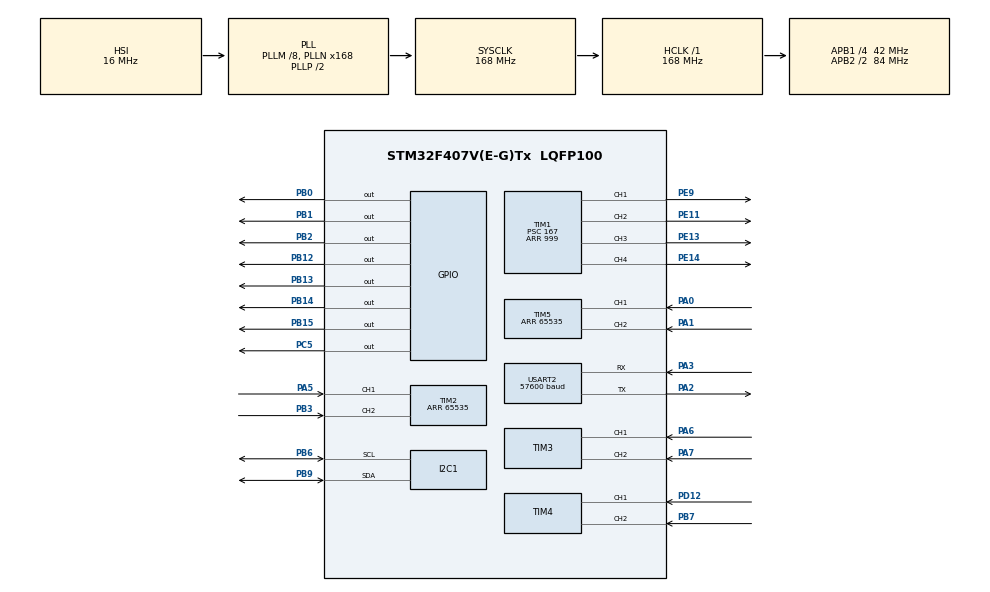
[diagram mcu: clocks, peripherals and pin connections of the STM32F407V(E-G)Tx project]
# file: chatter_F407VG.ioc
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Dma.Request0=USART2_RX
Dma.Request1=USART2_TX
Dma.USART2_RX.0.Direction=DMA_PERIPH_TO_MEMORY
Dma.USART2_RX.0.FIFOMode=DMA_FIFOMODE_DISABLE
Dma.USART2_RX.0.Instance=DMA1_Stream5
Dma.USART2_RX.0.MemDataAlignment=DMA_MDATAALIGN_BYTE
Dma.USART2_RX.0.MemInc=DMA_MINC_ENABLE
Dma.USART2_RX.0.Mode=DMA_CIRCULAR
Dma.USART2_RX.0.PeriphDataAlignment=DMA_PDATAALIGN_BYTE
Dma.USART2_RX.0.PeriphInc=DMA_PINC_DISABLE
Dma.USART2_RX.0.Priority=DMA_PRIORITY_LOW
Dma.USART2_TX.1.Direction=DMA_MEMORY_TO_PERIPH
Dma.USART2_TX.1.FIFOMode=DMA_FIFOMODE_DISABLE
Dma.USART2_TX.1.Instance=DMA1_Stream6
Dma.USART2_TX.1.MemDataAlignment=DMA_MDATAALIGN_BYTE
Dma.USART2_TX.1.MemInc=DMA_MINC_ENABLE
Dma.USART2_TX.1.Mode=DMA_NORMAL
Dma.USART2_TX.1.PeriphDataAlignment=DMA_PDATAALIGN_BYTE
Dma.USART2_TX.1.PeriphInc=DMA_PINC_DISABLE
Dma.USART2_TX.1.Priority=DMA_PRIORITY_LOW
Mcu.Family=STM32F4
Mcu.Name=STM32F407V(E-G)Tx
Mcu.Package=LQFP100
NVIC.DMA1_Stream5_IRQn=true\:0\:0\:false\:false\:true\:false\:true\:true
NVIC.DMA1_Stream6_IRQn=true\:0\:0\:false\:false\:true\:false\:true\:true
NVIC.I2C1_ER_IRQn=true\:0\:0\:false\:false\:true\:true\:true\:true
NVIC.I2C1_EV_IRQn=true\:0\:0\:false\:false\:true\:true\:true\:true
NVIC.PriorityGroup=NVIC_PRIORITYGROUP_4
NVIC.TIM1_BRK_TIM9_IRQn=true\:0\:0\:false\:false\:true\:true\:true\:true
NVIC.TIM6_DAC_IRQn=true\:0\:0\:false\:false\:true\:true\:true\:true
NVIC.TIM7_IRQn=true\:0\:0\:false\:false\:true\:true\:true\:true
NVIC.USART2_IRQn=true\:0\:0\:false\:false\:true\:true\:true\:true
PA0-WKUP.GPIO_PuPd=GPIO_PULLUP
PA0-WKUP.Signal=S_TIM5_CH1
PA1.GPIO_PuPd=GPIO_PULLUP
PA1.Signal=S_TIM5_CH2
PA13.Mode=Serial_Wire
PA13.Signal=SYS_JTMS-SWDIO
PA14.Mode=Serial_Wire
PA14.Signal=SYS_JTCK-SWCLK
PA2.Mode=Asynchronous
PA2.Signal=USART2_TX
PA3.Mode=Asynchronous
PA3.Signal=USART2_RX
PA5.GPIO_PuPd=GPIO_PULLUP
PA5.Signal=S_TIM2_CH1_ETR
PA6.GPIO_PuPd=GPIO_PULLUP
PA6.Signal=S_TIM3_CH1
PA7.GPIO_PuPd=GPIO_PULLUP
PA7.Signal=S_TIM3_CH2
PB0.Signal=GPIO_Output
PB1.Signal=GPIO_Output
PB12.Signal=GPIO_Output
PB13.Signal=GPIO_Output
PB14.Signal=GPIO_Output
PB15.Signal=GPIO_Output
PB2.Signal=GPIO_Output
PB3.GPIO_PuPd=GPIO_PULLUP
PB3.Signal=S_TIM2_CH2
PB6.Mode=I2C
PB6.Signal=I2C1_SCL
PB7.GPIO_PuPd=GPIO_PULLUP
PB7.Signal=S_TIM4_CH2
PB9.Mode=I2C
PB9.Signal=I2C1_SDA
PC5.Signal=GPIO_Output
PD12.GPIO_PuPd=GPIO_PULLUP
PD12.Signal=S_TIM4_CH1
PE11.Signal=S_TIM1_CH2
PE13.Signal=S_TIM1_CH3
PE14.Signal=S_TIM1_CH4
PE9.Signal=S_TIM1_CH1
PH0-OSC_IN.Mode=HSE-External-Oscillator
PH0-OSC_IN.Signal=RCC_OSC_IN
PH1-OSC_OUT.Mode=HSE-External-Oscillator
PH1-OSC_OUT.Signal=RCC_OSC_OUT
ProjectManager.HeapSize=0x200
ProjectManager.StackSize=0x400
ProjectManager.TargetToolchain=STM32CubeIDE
RCC.48MHZClocksFreq_Value=84000000
RCC.AHBFreq_Value=168000000
RCC.APB1CLKDivider=RCC_HCLK_DIV4
RCC.APB1Freq_Value=42000000
RCC.APB1TimFreq_Value=84000000
RCC.APB2CLKDivider=RCC_HCLK_DIV2
RCC.APB2Freq_Value=84000000
RCC.APB2TimFreq_Value=168000000
RCC.CortexFreq_Value=168000000
RCC.HCLKFreq_Value=168000000
RCC.HSE_VALUE=25000000
RCC.HSI_VALUE=16000000
RCC.LSE_VALUE=32768
RCC.PLLM=8
RCC.PLLN=168
RCC.SYSCLKFreq_VALUE=168000000
RCC.SYSCLKSource=RCC_SYSCLKSOURCE_PLLCLK
RCC.VCOOutputFreq_Value=336000000
SH.S_TIM1_CH1.0=TIM1_CH1,PWM Generation1 CH1
SH.S_TIM1_CH2.0=TIM1_CH2,PWM Generation2 CH2
SH.S_TIM1_CH3.0=TIM1_CH3,PWM Generation3 CH3
SH.S_TIM1_CH4.0=TIM1_CH4,PWM Generation4 CH4
SH.S_TIM2_CH1_ETR.0=TIM2_CH1,Encoder_Interface
SH.S_TIM2_CH2.0=TIM2_CH2,Encoder_Interface
SH.S_TIM3_CH1.0=TIM3_CH1,Encoder_Interface
SH.S_TIM3_CH2.0=TIM3_CH2,Encoder_Interface
SH.S_TIM4_CH1.0=TIM4_CH1,Encoder_Interface
SH.S_TIM4_CH2.0=TIM4_CH2,Encoder_Interface
SH.S_TIM5_CH1.0=TIM5_CH1,Encoder_Interface
SH.S_TIM5_CH2.0=TIM5_CH2,Encoder_Interface
TIM1.AutoReloadPreload=TIM_AUTORELOAD_PRELOAD_ENABLE
TIM1.Channel-PWM\ Generation1\ CH1=TIM_CHANNEL_1
TIM1.Channel-PWM\ Generation2\ CH2=TIM_CHANNEL_2
TIM1.Channel-PWM\ Generation3\ CH3=TIM_CHANNEL_3
TIM1.Channel-PWM\ Generation4\ CH4=TIM_CHANNEL_4
TIM1.Period=999
TIM1.Prescaler=167
TIM1.Pulse-PWM\ Generation1\ CH1=0
TIM1.Pulse-PWM\ Generation2\ CH2=0
TIM1.Pulse-PWM\ Generation3\ CH3=0
TIM1.Pulse-PWM\ Generation4\ CH4=0
TIM2.EncoderMode=TIM_ENCODERMODE_TI12
TIM2.Period=65535
TIM3.EncoderMode=TIM_ENCODERMODE_TI12
TIM4.EncoderMode=TIM_ENCODERMODE_TI12
TIM5.EncoderMode=TIM_ENCODERMODE_TI12
TIM5.Period=65535
TIM6.Period=9999
TIM6.Prescaler=1679
TIM7.Period=99
TIM7.Prescaler=3359
TIM9.Period=9999
TIM9.Prescaler=3359
USART2.BaudRate=57600
USART2.VirtualMode=VM_ASYNC
VP_TIM1_VS_ClockSourceINT.Mode=Internal
VP_TIM6_VS_ClockSourceINT.Mode=Enable_Timer
VP_TIM7_VS_ClockSourceINT.Mode=Enable_Timer
VP_TIM9_VS_ClockSourceINT.Mode=Internal
board=custom

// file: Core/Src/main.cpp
/* USER CODE BEGIN Header */
/**
  ******************************************************************************
  * @file           : main.c
  * @brief          : Main program body
  ******************************************************************************
  * @attention
  *
  * Copyright (c) 2024 STMicroelectronics.
  * All rights reserved.
  *
  * This software is licensed under terms that can be found in the LICENSE file
  * in the root directory of this software component.
  * If no LICENSE file comes with this software, it is provided AS-IS.
  *
  ******************************************************************************
  */
/* USER CODE END Header */
#include "main.h"

/* USER CODE BEGIN Includes */
#include "mainpp.h"
#include <math.h>
/* USER CODE END Includes */

/* USER CODE BEGIN PD */
#define pi 3.1415926535898
/* USER CODE END PD */

I2C_HandleTypeDef hi2c1;

TIM_HandleTypeDef htim1;
TIM_HandleTypeDef htim2;
TIM_HandleTypeDef htim3;
TIM_HandleTypeDef htim4;
TIM_HandleTypeDef htim5;
TIM_HandleTypeDef htim6;
TIM_HandleTypeDef htim7;
TIM_HandleTypeDef htim9;

UART_HandleTypeDef huart2;
DMA_HandleTypeDef hdma_usart2_rx;
DMA_HandleTypeDef hdma_usart2_tx;

void SystemClock_Config(void);
static void MX_GPIO_Init(void);
static void MX_DMA_Init(void);
static void MX_USART2_UART_Init(void);
static void MX_TIM2_Init(void);
static void MX_TIM3_Init(void);
static void MX_TIM4_Init(void);
static void MX_TIM5_Init(void);
static void MX_TIM1_Init(void);
static void MX_TIM9_Init(void);
static void MX_TIM6_Init(void);
static void MX_I2C1_Init(void);
static void MX_TIM7_Init(void);

/* USER CODE BEGIN 0 */
float tau = .98, dt = 0.004;
uint16_t num_cal_point = 1500;
float v_set[4] = {0,0,0,0}, v_enc[4] = {0,0,0,0}; //rpm
float Kp[4] = {0,0,0,0}, Ki[4] = {0,0,0,0}, Kd[4] = {0,0,0,0}, Ta = 0.2; //Ta is the interrupt cycle for PID calculation
float e[4] = {0,0,0,0}, sum_e[4] = {0,0,0,0}, pre_e[4] = {0,0,0,0}, d_e[4] = {0,0,0,0};
int16_t duty[4] = {0,0,0,0};
uint16_t encoder_cnt[4] = {0,0,0,0}, encoder_cnt_pre[4] = {0,0,0,0};
int16_t delta[4] = {0,0,0,0};
float r = 0.05, d = 0.175*sqrt(2), l = 2*pi*r;
float data_PID[12]= {0,0,0,0,0,0,0,0,0,0,0,0};
bool check_PID = 0;
float test_w = 1.213, test_r;
uint8_t error =0;
void PID()
{
	for (int i = 0; i < 4; i++){
		if (v_set[i] == 0) duty[i] = 0;
		else {
			e[i] = v_set[i] - v_enc[i];
			sum_e[i] += (e[i] + pre_e[i])/2;
			d_e[i] = e[i] - pre_e[i];
			pre_e[i] = e[i];
			duty[i] += (Kp[i] * e[i] + Ki[i] * Ta * sum_e[i] + Kd[i] * (1 / Ta) * d_e[i]);

			//Limit the Duty value
			if (duty[i] > 999)
			{
				duty[i] = 999;
			}
			else if (duty[i] < -999 )
			{
				duty[i] = -999;
			}
		}
	}

	if (duty[0] >= 0){
		HAL_GPIO_WritePin(GPIOC,GPIO_PIN_5,GPIO_PIN_SET);
		HAL_GPIO_WritePin(GPIOB,GPIO_PIN_0,GPIO_PIN_RESET);
		__HAL_TIM_SET_COMPARE(&htim1,TIM_CHANNEL_1,duty[0]);
	}
	else if (duty[0] < 0){
		HAL_GPIO_WritePin(GPIOC,GPIO_PIN_5,GPIO_PIN_RESET);
		HAL_GPIO_WritePin(GPIOB,GPIO_PIN_0,GPIO_PIN_SET);
		__HAL_TIM_SET_COMPARE(&htim1,TIM_CHANNEL_1,-duty[0]);
	}
	if (duty[1] >= 0){
		HAL_GPIO_WritePin(GPIOB,GPIO_PIN_1,GPIO_PIN_SET);
		HAL_GPIO_WritePin(GPIOB,GPIO_PIN_2,GPIO_PIN_RESET);
		__HAL_TIM_SET_COMPARE(&htim1,TIM_CHANNEL_2,duty[1]);
	}
	else if (duty[1] < 0){
		HAL_GPIO_WritePin(GPIOB,GPIO_PIN_1,GPIO_PIN_RESET);
		HAL_GPIO_WritePin(GPIOB,GPIO_PIN_2,GPIO_PIN_SET);
		__HAL_TIM_SET_COMPARE(&htim1,TIM_CHANNEL_2,-duty[1]);
	}
	if (duty[2] >= 0){
		HAL_GPIO_WritePin(GPIOB,GPIO_PIN_12,GPIO_PIN_SET);
		HAL_GPIO_WritePin(GPIOB,GPIO_PIN_13,GPIO_PIN_RESET);
		__HAL_TIM_SET_COMPARE(&htim1,TIM_CHANNEL_3,duty[2]);
	}
	else if (duty[2] < 0){
		HAL_GPIO_WritePin(GPIOB,GPIO_PIN_12,GPIO_PIN_RESET);
		HAL_GPIO_WritePin(GPIOB,GPIO_PIN_13,GPIO_PIN_SET);
		__HAL_TIM_SET_COMPARE(&htim1,TIM_CHANNEL_3,-duty[2]);
	}
	if (duty[3] >= 0){
		HAL_GPIO_WritePin(GPIOB,GPIO_PIN_14,GPIO_PIN_SET);
		HAL_GPIO_WritePin(GPIOB,GPIO_PIN_15,GPIO_PIN_RESET);
		__HAL_TIM_SET_COMPARE(&htim1,TIM_CHANNEL_4,duty[3]);
	}
	else if (duty[3] < 0){
		HAL_GPIO_WritePin(GPIOB,GPIO_PIN_14,GPIO_PIN_RESET);
		HAL_GPIO_WritePin(GPIOB,GPIO_PIN_15,GPIO_PIN_SET);
		__HAL_TIM_SET_COMPARE(&htim1,TIM_CHANNEL_4,-duty[3]);
	}
	check_PID = 0;
}

void HAL_TIM_PeriodElapsedCallback(TIM_HandleTypeDef *htim)
{
	// Check if timer has triggered and update attitude
	if (htim == &htim7)
	{
		MPU_calcAttitude(&hi2c1);
	}
	if (htim->Instance == TIM6)
	{
			encoder_cnt[0] = __HAL_TIM_GET_COUNTER(&htim2);
			encoder_cnt[1] = __HAL_TIM_GET_COUNTER(&htim3);
			encoder_cnt[2] = __HAL_TIM_GET_COUNTER(&htim4);
			encoder_cnt[3] = __HAL_TIM_GET_COUNTER(&htim5);
			for (int i = 0; i < 4; i++){
				if(-encoder_cnt[i] + encoder_cnt_pre[i] > 30000)			// Handle counter overflow when reversing
				{
					delta[i] = -encoder_cnt[i] + encoder_cnt_pre[i] - 65536;
				}
				else if(-encoder_cnt[i] + encoder_cnt_pre[i] < -30000)	// Handling counter overflow during forward rotation
				{
					delta[i] = -encoder_cnt[i] + encoder_cnt_pre[i] + 65536;
				}
				else
				{
					delta[i] = -encoder_cnt[i] + encoder_cnt_pre[i];
				}
				v_enc[i] = (float)(delta[i])*60*5/1440;
				encoder_cnt_pre[i] = encoder_cnt[i] ;
			}
			check_PID = 1;
			PID();
	}
}
/* USER CODE END 0 */

int main(void)
{

  /* MCU Configuration--------------------------------------------------------*/

  /* Reset of all peripherals, Initializes the Flash interface and the Systick. */
  HAL_Init();

  /* Configure the system clock */
  SystemClock_Config();

  /* Initialize all configured peripherals */
  MX_GPIO_Init();
  MX_DMA_Init();
  MX_USART2_UART_Init();
  MX_TIM2_Init();
  MX_TIM3_Init();
  MX_TIM4_Init();
  MX_TIM5_Init();
  MX_TIM1_Init();
  MX_TIM9_Init();
  MX_TIM6_Init();
  MX_I2C1_Init();
  MX_TIM7_Init();
  /* USER CODE BEGIN 2 */
  Flash_Read_Array_Float(0x080A0000, Kp, 4);
  Flash_Read_Array_Float(0x080C0000, Ki, 4);
  Flash_Read_Array_Float(0x080E0000, Kd, 4);

  setup();
  if (MPU_begin(&hi2c1, AD0_LOW, tau, dt))
   {
	  error =0;
   }
  else error =1;

  MPU_calibrateGyro(&hi2c1, num_cal_point);

  HAL_TIM_PWM_Start(&htim1, TIM_CHANNEL_1);
  HAL_TIM_PWM_Start(&htim1, TIM_CHANNEL_2);
  HAL_TIM_PWM_Start(&htim1, TIM_CHANNEL_3);
  HAL_TIM_PWM_Start(&htim1, TIM_CHANNEL_4);

  HAL_TIM_Encoder_Start(&htim2,TIM_CHANNEL_ALL);
  HAL_TIM_Encoder_Start(&htim3,TIM_CHANNEL_ALL);
  HAL_TIM_Encoder_Start(&htim4,TIM_CHANNEL_ALL);
  HAL_TIM_Encoder_Start(&htim5,TIM_CHANNEL_ALL);

  HAL_TIM_Base_Start_IT(&htim6);
  HAL_TIM_Base_Start_IT(&htim7);
  /* USER CODE END 2 */

  /* Infinite loop */
  while (1)
  {

    /* USER CODE BEGIN 3 */
	//data_PID[0] = Kp[0]; data_PID[1] = Ki[0]; data_PID[2] = Kd[0]; data_PID[3] = Kp[1]; data_PID[4] = Ki[1]; data_PID[5] = Kd[1]; data_PID[6] = Kp[2]; data_PID[7] = Ki[2]; data_PID[8] = Kd[2]; data_PID[9] = Kp[3]; data_PID[10] = Ki[3]; data_PID[11] = Kd[3];

	loop();
  }
  /* USER CODE END 3 */
}

void SystemClock_Config(void)
{
  RCC_OscInitTypeDef RCC_OscInitStruct = {0};
  RCC_ClkInitTypeDef RCC_ClkInitStruct = {0};

  /** Configure the main internal regulator output voltage
  */
  __HAL_RCC_PWR_CLK_ENABLE();
  __HAL_PWR_VOLTAGESCALING_CONFIG(PWR_REGULATOR_VOLTAGE_SCALE1);

  /** Initializes the RCC Oscillators according to the specified parameters
  * in the RCC_OscInitTypeDef structure.
  */
  RCC_OscInitStruct.OscillatorType = RCC_OSCILLATORTYPE_HSI;
  RCC_OscInitStruct.HSIState = RCC_HSI_ON;
  RCC_OscInitStruct.HSICalibrationValue = RCC_HSICALIBRATION_DEFAULT;
  RCC_OscInitStruct.PLL.PLLState = RCC_PLL_ON;
  RCC_OscInitStruct.PLL.PLLSource = RCC_PLLSOURCE_HSI;
  RCC_OscInitStruct.PLL.PLLM = 8;
  RCC_OscInitStruct.PLL.PLLN = 168;
  RCC_OscInitStruct.PLL.PLLP = RCC_PLLP_DIV2;
  RCC_OscInitStruct.PLL.PLLQ = 4;
  if (HAL_RCC_OscConfig(&RCC_OscInitStruct) != HAL_OK)
  {
    Error_Handler();
  }

  /** Initializes the CPU, AHB and APB buses clocks
  */
  RCC_ClkInitStruct.ClockType = RCC_CLOCKTYPE_HCLK|RCC_CLOCKTYPE_SYSCLK
                              |RCC_CLOCKTYPE_PCLK1|RCC_CLOCKTYPE_PCLK2;
  RCC_ClkInitStruct.SYSCLKSource = RCC_SYSCLKSOURCE_PLLCLK;
  RCC_ClkInitStruct.AHBCLKDivider = RCC_SYSCLK_DIV1;
  RCC_ClkInitStruct.APB1CLKDivider = RCC_HCLK_DIV4;
  RCC_ClkInitStruct.APB2CLKDivider = RCC_HCLK_DIV2;

  if (HAL_RCC_ClockConfig(&RCC_ClkInitStruct, FLASH_LATENCY_5) != HAL_OK)
  {
    Error_Handler();
  }
}

static void MX_I2C1_Init(void)
{

  hi2c1.Instance = I2C1;
  hi2c1.Init.ClockSpeed = 100000;
  hi2c1.Init.DutyCycle = I2C_DUTYCYCLE_2;
  hi2c1.Init.OwnAddress1 = 0;
  hi2c1.Init.AddressingMode = I2C_ADDRESSINGMODE_7BIT;
  hi2c1.Init.DualAddressMode = I2C_DUALADDRESS_DISABLE;
  hi2c1.Init.OwnAddress2 = 0;
  hi2c1.Init.GeneralCallMode = I2C_GENERALCALL_DISABLE;
  hi2c1.Init.NoStretchMode = I2C_NOSTRETCH_DISABLE;
  if (HAL_I2C_Init(&hi2c1) != HAL_OK)
  {
    Error_Handler();
  }

}

static void MX_TIM1_Init(void)
{

  TIM_ClockConfigTypeDef sClockSourceConfig = {0};
  TIM_MasterConfigTypeDef sMasterConfig = {0};
  TIM_OC_InitTypeDef sConfigOC = {0};
  TIM_BreakDeadTimeConfigTypeDef sBreakDeadTimeConfig = {0};

  htim1.Instance = TIM1;
  htim1.Init.Prescaler = 167;
  htim1.Init.CounterMode = TIM_COUNTERMODE_UP;
  htim1.Init.Period = 999;
  htim1.Init.ClockDivision = TIM_CLOCKDIVISION_DIV1;
  htim1.Init.RepetitionCounter = 0;
  htim1.Init.AutoReloadPreload = TIM_AUTORELOAD_PRELOAD_ENABLE;
  if (HAL_TIM_Base_Init(&htim1) != HAL_OK)
  {
    Error_Handler();
  }
  sClockSourceConfig.ClockSource = TIM_CLOCKSOURCE_INTERNAL;
  if (HAL_TIM_ConfigClockSource(&htim1, &sClockSourceConfig) != HAL_OK)
  {
    Error_Handler();
  }
  if (HAL_TIM_PWM_Init(&htim1) != HAL_OK)
  {
    Error_Handler();
  }
  sMasterConfig.MasterOutputTrigger = TIM_TRGO_RESET;
  sMasterConfig.MasterSlaveMode = TIM_MASTERSLAVEMODE_DISABLE;
  if (HAL_TIMEx_MasterConfigSynchronization(&htim1, &sMasterConfig) != HAL_OK)
  {
    Error_Handler();
  }
  sConfigOC.OCMode = TIM_OCMODE_PWM1;
  sConfigOC.Pulse = 0;
  sConfigOC.OCPolarity = TIM_OCPOLARITY_HIGH;
  sConfigOC.OCNPolarity = TIM_OCNPOLARITY_HIGH;
  sConfigOC.OCFastMode = TIM_OCFAST_DISABLE;
  sConfigOC.OCIdleState = TIM_OCIDLESTATE_RESET;
  sConfigOC.OCNIdleState = TIM_OCNIDLESTATE_RESET;
  if (HAL_TIM_PWM_ConfigChannel(&htim1, &sConfigOC, TIM_CHANNEL_1) != HAL_OK)
  {
    Error_Handler();
  }
  if (HAL_TIM_PWM_ConfigChannel(&htim1, &sConfigOC, TIM_CHANNEL_2) != HAL_OK)
  {
    Error_Handler();
  }
  if (HAL_TIM_PWM_ConfigChannel(&htim1, &sConfigOC, TIM_CHANNEL_3) != HAL_OK)
  {
    Error_Handler();
  }
  if (HAL_TIM_PWM_ConfigChannel(&htim1, &sConfigOC, TIM_CHANNEL_4) != HAL_OK)
  {
    Error_Handler();
  }
  sBreakDeadTimeConfig.OffStateRunMode = TIM_OSSR_DISABLE;
  sBreakDeadTimeConfig.OffStateIDLEMode = TIM_OSSI_DISABLE;
  sBreakDeadTimeConfig.LockLevel = TIM_LOCKLEVEL_OFF;
  sBreakDeadTimeConfig.DeadTime = 0;
  sBreakDeadTimeConfig.BreakState = TIM_BREAK_DISABLE;
  sBreakDeadTimeConfig.BreakPolarity = TIM_BREAKPOLARITY_HIGH;
  sBreakDeadTimeConfig.AutomaticOutput = TIM_AUTOMATICOUTPUT_DISABLE;
  if (HAL_TIMEx_ConfigBreakDeadTime(&htim1, &sBreakDeadTimeConfig) != HAL_OK)
  {
    Error_Handler();
  }
  HAL_TIM_MspPostInit(&htim1);

}

static void MX_TIM2_Init(void)
{

  TIM_Encoder_InitTypeDef sConfig = {0};
  TIM_MasterConfigTypeDef sMasterConfig = {0};

  htim2.Instance = TIM2;
  htim2.Init.Prescaler = 0;
  htim2.Init.CounterMode = TIM_COUNTERMODE_UP;
  htim2.Init.Period = 65535;
  htim2.Init.ClockDivision = TIM_CLOCKDIVISION_DIV1;
  htim2.Init.AutoReloadPreload = TIM_AUTORELOAD_PRELOAD_DISABLE;
  sConfig.EncoderMode = TIM_ENCODERMODE_TI12;
  sConfig.IC1Polarity = TIM_ICPOLARITY_RISING;
  sConfig.IC1Selection = TIM_ICSELECTION_DIRECTTI;
  sConfig.IC1Prescaler = TIM_ICPSC_DIV1;
  sConfig.IC1Filter = 0;
  sConfig.IC2Polarity = TIM_ICPOLARITY_RISING;
  sConfig.IC2Selection = TIM_ICSELECTION_DIRECTTI;
  sConfig.IC2Prescaler = TIM_ICPSC_DIV1;
  sConfig.IC2Filter = 0;
  if (HAL_TIM_Encoder_Init(&htim2, &sConfig) != HAL_OK)
  {
    Error_Handler();
  }
  sMasterConfig.MasterOutputTrigger = TIM_TRGO_RESET;
  sMasterConfig.MasterSlaveMode = TIM_MASTERSLAVEMODE_DISABLE;
  if (HAL_TIMEx_MasterConfigSynchronization(&htim2, &sMasterConfig) != HAL_OK)
  {
    Error_Handler();
  }

}

static void MX_TIM3_Init(void)
{

  TIM_Encoder_InitTypeDef sConfig = {0};
  TIM_MasterConfigTypeDef sMasterConfig = {0};

  htim3.Instance = TIM3;
  htim3.Init.Prescaler = 0;
  htim3.Init.CounterMode = TIM_COUNTERMODE_UP;
  htim3.Init.Period = 65535;
  htim3.Init.ClockDivision = TIM_CLOCKDIVISION_DIV1;
  htim3.Init.AutoReloadPreload = TIM_AUTORELOAD_PRELOAD_DISABLE;
  sConfig.EncoderMode = TIM_ENCODERMODE_TI12;
  sConfig.IC1Polarity = TIM_ICPOLARITY_RISING;
  sConfig.IC1Selection = TIM_ICSELECTION_DIRECTTI;
  sConfig.IC1Prescaler = TIM_ICPSC_DIV1;
  sConfig.IC1Filter = 0;
  sConfig.IC2Polarity = TIM_ICPOLARITY_RISING;
  sConfig.IC2Selection = TIM_ICSELECTION_DIRECTTI;
  sConfig.IC2Prescaler = TIM_ICPSC_DIV1;
  sConfig.IC2Filter = 0;
  if (HAL_TIM_Encoder_Init(&htim3, &sConfig) != HAL_OK)
  {
    Error_Handler();
  }
  sMasterConfig.MasterOutputTrigger = TIM_TRGO_RESET;
  sMasterConfig.MasterSlaveMode = TIM_MASTERSLAVEMODE_DISABLE;
  if (HAL_TIMEx_MasterConfigSynchronization(&htim3, &sMasterConfig) != HAL_OK)
  {
    Error_Handler();
  }

}

static void MX_TIM4_Init(void)
{

  TIM_Encoder_InitTypeDef sConfig = {0};
  TIM_MasterConfigTypeDef sMasterConfig = {0};

  htim4.Instance = TIM4;
  htim4.Init.Prescaler = 0;
  htim4.Init.CounterMode = TIM_COUNTERMODE_UP;
  htim4.Init.Period = 65535;
  htim4.Init.ClockDivision = TIM_CLOCKDIVISION_DIV1;
  htim4.Init.AutoReloadPreload = TIM_AUTORELOAD_PRELOAD_DISABLE;
  sConfig.EncoderMode = TIM_ENCODERMODE_TI12;
  sConfig.IC1Polarity = TIM_ICPOLARITY_RISING;
  sConfig.IC1Selection = TIM_ICSELECTION_DIRECTTI;
  sConfig.IC1Prescaler = TIM_ICPSC_DIV1;
  sConfig.IC1Filter = 0;
  sConfig.IC2Polarity = TIM_ICPOLARITY_RISING;
  sConfig.IC2Selection = TIM_ICSELECTION_DIRECTTI;
  sConfig.IC2Prescaler = TIM_ICPSC_DIV1;
  sConfig.IC2Filter = 0;
  if (HAL_TIM_Encoder_Init(&htim4, &sConfig) != HAL_OK)
  {
    Error_Handler();
  }
  sMasterConfig.MasterOutputTrigger = TIM_TRGO_RESET;
  sMasterConfig.MasterSlaveMode = TIM_MASTERSLAVEMODE_DISABLE;
  if (HAL_TIMEx_MasterConfigSynchronization(&htim4, &sMasterConfig) != HAL_OK)
  {
    Error_Handler();
  }

}

static void MX_TIM5_Init(void)
{

  TIM_Encoder_InitTypeDef sConfig = {0};
  TIM_MasterConfigTypeDef sMasterConfig = {0};

  htim5.Instance = TIM5;
  htim5.Init.Prescaler = 0;
  htim5.Init.CounterMode = TIM_COUNTERMODE_UP;
  htim5.Init.Period = 65535;
  htim5.Init.ClockDivision = TIM_CLOCKDIVISION_DIV1;
  htim5.Init.AutoReloadPreload = TIM_AUTORELOAD_PRELOAD_DISABLE;
  sConfig.EncoderMode = TIM_ENCODERMODE_TI12;
  sConfig.IC1Polarity = TIM_ICPOLARITY_RISING;
  sConfig.IC1Selection = TIM_ICSELECTION_DIRECTTI;
  sConfig.IC1Prescaler = TIM_ICPSC_DIV1;
  sConfig.IC1Filter = 0;
  sConfig.IC2Polarity = TIM_ICPOLARITY_RISING;
  sConfig.IC2Selection = TIM_ICSELECTION_DIRECTTI;
  sConfig.IC2Prescaler = TIM_ICPSC_DIV1;
  sConfig.IC2Filter = 0;
  if (HAL_TIM_Encoder_Init(&htim5, &sConfig) != HAL_OK)
  {
    Error_Handler();
  }
  sMasterConfig.MasterOutputTrigger = TIM_TRGO_RESET;
  sMasterConfig.MasterSlaveMode = TIM_MASTERSLAVEMODE_DISABLE;
  if (HAL_TIMEx_MasterConfigSynchronization(&htim5, &sMasterConfig) != HAL_OK)
  {
    Error_Handler();
  }

}

static void MX_TIM6_Init(void)
{

  TIM_MasterConfigTypeDef sMasterConfig = {0};

  htim6.Instance = TIM6;
  htim6.Init.Prescaler = 1679;
  htim6.Init.CounterMode = TIM_COUNTERMODE_UP;
  htim6.Init.Period = 9999;
  htim6.Init.AutoReloadPreload = TIM_AUTORELOAD_PRELOAD_DISABLE;
  if (HAL_TIM_Base_Init(&htim6) != HAL_OK)
  {
    Error_Handler();
  }
  sMasterConfig.MasterOutputTrigger = TIM_TRGO_RESET;
  sMasterConfig.MasterSlaveMode = TIM_MASTERSLAVEMODE_DISABLE;
  if (HAL_TIMEx_MasterConfigSynchronization(&htim6, &sMasterConfig) != HAL_OK)
  {
    Error_Handler();
  }

}

static void MX_TIM7_Init(void)
{

  TIM_MasterConfigTypeDef sMasterConfig = {0};

  htim7.Instance = TIM7;
  htim7.Init.Prescaler = 3359;
  htim7.Init.CounterMode = TIM_COUNTERMODE_UP;
  htim7.Init.Period = 499;
  htim7.Init.AutoReloadPreload = TIM_AUTORELOAD_PRELOAD_DISABLE;
  if (HAL_TIM_Base_Init(&htim7) != HAL_OK)
  {
    Error_Handler();
  }
  sMasterConfig.MasterOutputTrigger = TIM_TRGO_RESET;
  sMasterConfig.MasterSlaveMode = TIM_MASTERSLAVEMODE_DISABLE;
  if (HAL_TIMEx_MasterConfigSynchronization(&htim7, &sMasterConfig) != HAL_OK)
  {
    Error_Handler();
  }

}

static void MX_TIM9_Init(void)
{

  TIM_ClockConfigTypeDef sClockSourceConfig = {0};

  htim9.Instance = TIM9;
  htim9.Init.Prescaler = 3359;
  htim9.Init.CounterMode = TIM_COUNTERMODE_UP;
  htim9.Init.Period = 9999;
  htim9.Init.ClockDivision = TIM_CLOCKDIVISION_DIV1;
  htim9.Init.AutoReloadPreload = TIM_AUTORELOAD_PRELOAD_DISABLE;
  if (HAL_TIM_Base_Init(&htim9) != HAL_OK)
  {
    Error_Handler();
  }
  sClockSourceConfig.ClockSource = TIM_CLOCKSOURCE_INTERNAL;
  if (HAL_TIM_ConfigClockSource(&htim9, &sClockSourceConfig) != HAL_OK)
  {
    Error_Handler();
  }

}

static void MX_USART2_UART_Init(void)
{

  huart2.Instance = USART2;
  huart2.Init.BaudRate = 57600;
  huart2.Init.WordLength = UART_WORDLENGTH_8B;
  huart2.Init.StopBits = UART_STOPBITS_1;
  huart2.Init.Parity = UART_PARITY_NONE;
  huart2.Init.Mode = UART_MODE_TX_RX;
  huart2.Init.HwFlowCtl = UART_HWCONTROL_NONE;
  huart2.Init.OverSampling = UART_OVERSAMPLING_16;
  if (HAL_UART_Init(&huart2) != HAL_OK)
  {
    Error_Handler();
  }

}

static void MX_DMA_Init(void)
{

  /* DMA controller clock enable */
  __HAL_RCC_DMA1_CLK_ENABLE();

  /* DMA interrupt init */
  /* DMA1_Stream5_IRQn interrupt configuration */
  HAL_NVIC_SetPriority(DMA1_Stream5_IRQn, 0, 0);
  HAL_NVIC_EnableIRQ(DMA1_Stream5_IRQn);
  /* DMA1_Stream6_IRQn interrupt configuration */
  HAL_NVIC_SetPriority(DMA1_Stream6_IRQn, 0, 0);
  HAL_NVIC_EnableIRQ(DMA1_Stream6_IRQn);

}

static void MX_GPIO_Init(void)
{
  GPIO_InitTypeDef GPIO_InitStruct = {0};

  /* GPIO Ports Clock Enable */
  __HAL_RCC_GPIOH_CLK_ENABLE();
  __HAL_RCC_GPIOA_CLK_ENABLE();
  __HAL_RCC_GPIOC_CLK_ENABLE();
  __HAL_RCC_GPIOB_CLK_ENABLE();
  __HAL_RCC_GPIOE_CLK_ENABLE();
  __HAL_RCC_GPIOD_CLK_ENABLE();

  /*Configure GPIO pin Output Level */
  HAL_GPIO_WritePin(GPIOC, GPIO_PIN_5, GPIO_PIN_RESET);

  /*Configure GPIO pin Output Level */
  HAL_GPIO_WritePin(GPIOB, GPIO_PIN_0|GPIO_PIN_1|GPIO_PIN_2|GPIO_PIN_12
                          |GPIO_PIN_13|GPIO_PIN_14|GPIO_PIN_15, GPIO_PIN_RESET);

  /*Configure GPIO pin : PC5 */
  GPIO_InitStruct.Pin = GPIO_PIN_5;
  GPIO_InitStruct.Mode = GPIO_MODE_OUTPUT_PP;
  GPIO_InitStruct.Pull = GPIO_NOPULL;
  GPIO_InitStruct.Speed = GPIO_SPEED_FREQ_LOW;
  HAL_GPIO_Init(GPIOC, &GPIO_InitStruct);

  /*Configure GPIO pins : PB0 PB1 PB2 PB12
                           PB13 PB14 PB15 */
  GPIO_InitStruct.Pin = GPIO_PIN_0|GPIO_PIN_1|GPIO_PIN_2|GPIO_PIN_12
                          |GPIO_PIN_13|GPIO_PIN_14|GPIO_PIN_15;
  GPIO_InitStruct.Mode = GPIO_MODE_OUTPUT_PP;
  GPIO_InitStruct.Pull = GPIO_NOPULL;
  GPIO_InitStruct.Speed = GPIO_SPEED_FREQ_LOW;
  HAL_GPIO_Init(GPIOB, &GPIO_InitStruct);

}

void Error_Handler(void)
{
  __disable_irq();
  while (1)
  {
  }
}
